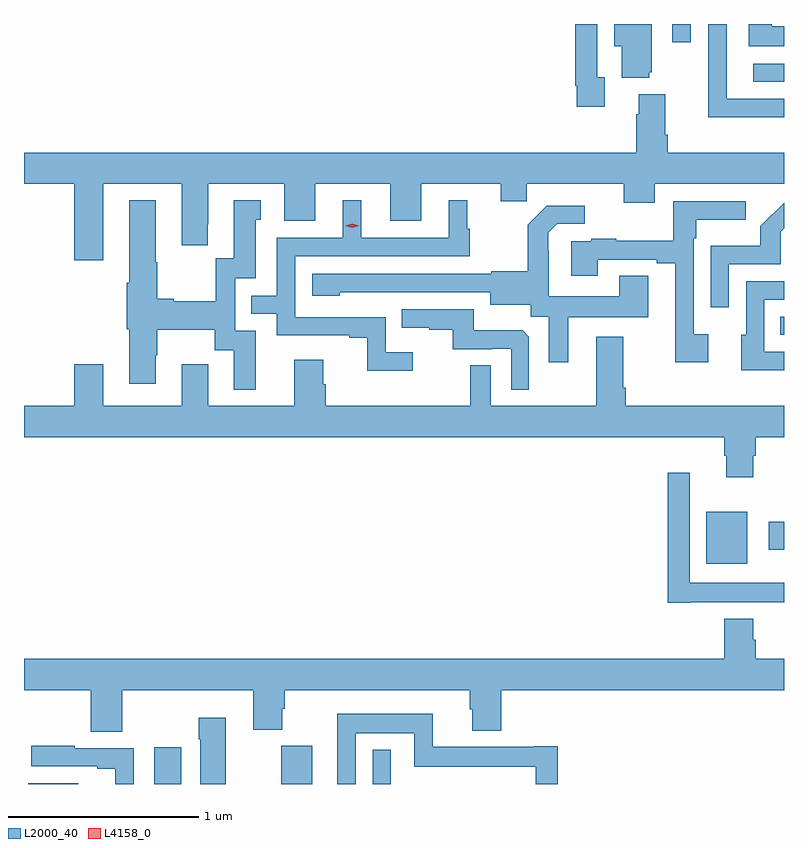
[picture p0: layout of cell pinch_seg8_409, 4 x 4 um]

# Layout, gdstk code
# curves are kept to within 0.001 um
import gdstk
lib = gdstk.Library(unit=1e-6, precision=1e-09)
def R(c, l, rs):  # rectangles x0, y0, x1, y1
    for r in rs: c.add(gdstk.rectangle(r[:2], r[2:], *l))
def P(c, l, *ps):  # polygons
    for p in ps: c.add(gdstk.Polygon(p, *l))
L2000_40 = (2000, 40)
L4158_0 = (4158, 0)

pinch_seg8_409 = lib.new_cell('pinch_seg8_409')
R(pinch_seg8_409, L2000_40, [(314.972,1158.63,315.235,1158.634), (315.635,1158.63,315.778,1158.823), (316.304,1158.63,316.468,1158.831), (316.785,1158.63,316.881,1158.811), (318.542,1159.79,318.757,1160.062), (318.869,1159.862,318.95,1160.01), (318.931,1160.994,318.95,1161.09), (318.789,1162.326,318.95,1162.422), (318.363,1162.533,318.459,1162.63)])
P(pinch_seg8_409, L2000_40, [(318.242,1162.377),(318.253,1162.377),(318.253,1162.63),(318.056,1162.63),(318.056,1162.514),(318.095,1162.514),(318.095,1162.346),(318.242,1162.346)],
  [(318.007,1162.35),(317.967,1162.35),(317.967,1162.63),(317.851,1162.63),(317.851,1162.306),(317.859,1162.306),(317.859,1162.194),(318.007,1162.194)],
  [(318.95,1162.618),(318.885,1162.618),(318.885,1162.63),(318.764,1162.63),(318.764,1162.514),(318.95,1162.514)],
  [(318.95,1162.236),(318.648,1162.236),(318.648,1162.63),(318.552,1162.63),(318.552,1162.445),(318.55,1162.445),(318.55,1162.139),(318.95,1162.139)],
  [(315.367,1161.788),(315.779,1161.788),(315.779,1161.465),(315.916,1161.465),(315.916,1161.577),(315.919,1161.577),(315.919,1161.788),(316.319,1161.788),(316.319,1161.594),(316.483,1161.594),(316.483,1161.788),(316.877,1161.788),(316.877,1161.594),(317.041,1161.594),(317.041,1161.788),(317.459,1161.788),(317.459,1161.698),(317.597,1161.698),(317.597,1161.788),(318.107,1161.788),(318.107,1161.689),(318.271,1161.689),(318.271,1161.788),(318.95,1161.788),(318.95,1161.952),(318.338,1161.952),(318.338,1162.048),(318.325,1162.048),(318.325,1162.261),(318.185,1162.261),(318.185,1162.154),(318.173,1162.154),(318.173,1161.952),(314.95,1161.952),(314.95,1161.788),(315.215,1161.788),(315.215,1161.387),(315.367,1161.387)],
  [(316.996,1160.902),(316.854,1160.902),(316.854,1161.087),(316.377,1161.087),(316.377,1161.408),(317.296,1161.408),(317.296,1161.552),(317.284,1161.552),(317.284,1161.703),(317.186,1161.703),(317.186,1161.504),(316.726,1161.504),(316.726,1161.703),(316.628,1161.703),(316.628,1161.504),(316.281,1161.504),(316.281,1161.201),(316.147,1161.201),(316.147,1161.105),(316.281,1161.105),(316.281,1160.991),(316.661,1160.991),(316.661,1160.979),(316.756,1160.979),(316.756,1160.804),(316.996,1160.804)],
  [(316.171,1161.015),(316.062,1161.015),(316.062,1161.291),(316.171,1161.291),(316.171,1161.6),(316.195,1161.6),(316.195,1161.703),(316.055,1161.703),(316.055,1161.396),(315.959,1161.396),(315.959,1161.172),(315.739,1161.172),(315.739,1161.185),(315.651,1161.185),(315.651,1161.377),(315.643,1161.377),(315.643,1161.703),(315.503,1161.703),(315.503,1161.268),(315.491,1161.268),(315.491,1161.024),(315.503,1161.024),(315.503,1160.736),(315.643,1160.736),(315.643,1160.886),(315.651,1160.886),(315.651,1161.02),(315.954,1161.02),(315.954,1160.914),(316.055,1160.914),(316.055,1160.706),(316.171,1160.706)],
  [(318.55,1160.998),(318.474,1160.998),(318.474,1161.503),(318.487,1161.503),(318.487,1161.599),(318.748,1161.599),(318.748,1161.696),(318.366,1161.696),(318.366,1161.488),(318.067,1161.488),(318.067,1161.499),(317.935,1161.499),(317.935,1161.486),(317.831,1161.486),(317.831,1161.306),(317.971,1161.306),(317.971,1161.39),(318.281,1161.39),(318.281,1161.372),(318.377,1161.372),(318.377,1160.85),(318.55,1160.85)],
  [(318.66,1161.366),(318.933,1161.366),(318.933,1161.537),(318.95,1161.554),(318.95,1161.69),(318.826,1161.566),(318.826,1161.463),(318.564,1161.463),(318.564,1161.138),(318.66,1161.138)],
  [(317.815,1161.086),(318.235,1161.086),(318.235,1161.305),(318.083,1161.305),(318.083,1161.196),(317.712,1161.196),(317.712,1161.437),(317.71,1161.437),(317.71,1161.532),(317.757,1161.579),(317.902,1161.579),(317.902,1161.673),(317.701,1161.673),(317.601,1161.573),(317.601,1161.328),(317.409,1161.328),(317.409,1161.315),(316.467,1161.315),(316.467,1161.2),(316.611,1161.2),(316.611,1161.218),(317.405,1161.219),(317.405,1161.152),(317.616,1161.152),(317.616,1161.088),(317.711,1161.088),(317.711,1160.85),(317.815,1160.85)],
  [(318.943,1160.808),(318.95,1160.808),(318.95,1160.904),(318.846,1160.904),(318.846,1161.18),(318.95,1161.18),(318.95,1161.276),(318.75,1161.276),(318.75,1160.994),(318.725,1160.994),(318.725,1160.807),(318.943,1160.807)],
  [(317.607,1160.985),(317.575,1161.017),(317.317,1161.017),(317.317,1161.129),(316.939,1161.129),(316.939,1161.032),(317.083,1161.032),(317.083,1161.021),(317.207,1161.021),(317.207,1160.919),(317.414,1160.919),(317.414,1160.922),(317.514,1160.922),(317.514,1160.705),(317.607,1160.705)],
  [(318.787,1160.358),(318.8,1160.358),(318.8,1160.456),(318.95,1160.456),(318.95,1160.62),(318.116,1160.62),(318.116,1160.716),(318.103,1160.716),(318.103,1160.983),(317.963,1160.983),(317.963,1160.62),(317.406,1160.62),(317.406,1160.834),(317.298,1160.834),(317.298,1160.62),(316.538,1160.62),(316.538,1160.733),(316.525,1160.733),(316.525,1160.863),(316.373,1160.863),(316.373,1160.62),(315.919,1160.62),(315.919,1160.839),(315.779,1160.839),(315.779,1160.62),(315.367,1160.62),(315.367,1160.839),(315.215,1160.839),(315.215,1160.62),(314.95,1160.62),(314.95,1160.456),(318.635,1160.456),(318.635,1160.358),(318.647,1160.358),(318.647,1160.244),(318.787,1160.244)],
  [(318.46,1159.586),(318.95,1159.586),(318.95,1159.69),(318.453,1159.69),(318.453,1160.269),(318.337,1160.269),(318.337,1159.584),(318.46,1159.584)],
  [(315.468,1159.124),(316.157,1159.124),(316.157,1158.916),(316.309,1158.916),(316.309,1159.025),(316.322,1159.025),(316.322,1159.124),(317.297,1159.124),(317.297,1159.023),(317.309,1159.023),(317.309,1158.911),(317.462,1158.911),(317.462,1159.124),(318.95,1159.124),(318.95,1159.288),(318.8,1159.288),(318.8,1159.389),(318.787,1159.389),(318.787,1159.501),(318.635,1159.501),(318.635,1159.288),(314.95,1159.288),(314.95,1159.124),(315.302,1159.124),(315.302,1158.904),(315.468,1158.904)],
  [(316.695,1158.896),(317.004,1158.896),(317.004,1158.722),(317.643,1158.722),(317.643,1158.63),(317.759,1158.63),(317.759,1158.829),(317.636,1158.829),(317.636,1158.826),(317.102,1158.826),(317.102,1159),(316.598,1159),(316.598,1158.63),(316.695,1158.63)],
  [(316.011,1158.658),(316.012,1158.658),(316.012,1158.979),(315.871,1158.979),(315.871,1158.866),(315.878,1158.866),(315.878,1158.63),(316.011,1158.63)],
  [(315.528,1158.819),(315.218,1158.819),(315.218,1158.832),(314.988,1158.832),(314.988,1158.723),(315.335,1158.723),(315.335,1158.711),(315.431,1158.711),(315.431,1158.63),(315.528,1158.63)])
P(pinch_seg8_409, L4158_0, [(316.677,1161.558),(316.641,1161.568),(316.641,1161.568),(316.641,1161.568),(316.677,1161.578),(316.713,1161.568),(316.713,1161.568),(316.713,1161.568)])

lib.write_gds('pinch_seg8_409.gds')
